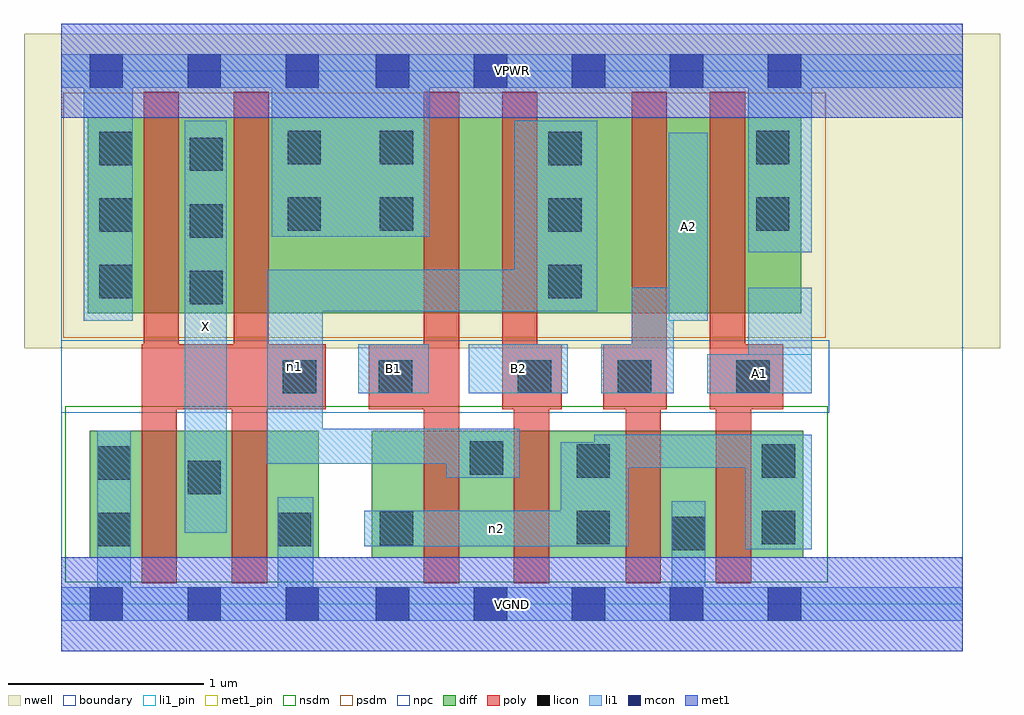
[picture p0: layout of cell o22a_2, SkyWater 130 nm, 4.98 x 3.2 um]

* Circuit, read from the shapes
.subckt o22a_2 A1 A2 B1 B2 VGND VPWR X n1 n2
XM1 X n1 VGND VSUBS sky130_fd_pr__nfet_01v8 w=0.65 l=0.18 m=2
XM2 n1 B1 n2 VSUBS sky130_fd_pr__nfet_01v8 w=0.65 l=0.18
XM3 n2 B2 n1 VSUBS sky130_fd_pr__nfet_01v8 w=0.65 l=0.18
XM4 VGND A2 n2 VSUBS sky130_fd_pr__nfet_01v8 w=0.65 l=0.18
XM5 n2 A1 VGND VSUBS sky130_fd_pr__nfet_01v8 w=0.65 l=0.18
XM6 X n1 VPWR n3 sky130_fd_pr__pfet_01v8 w=1 l=0.18 m=2
XM7 n4 B1 VPWR n3 sky130_fd_pr__pfet_01v8 w=1 l=0.18
XM8 n1 B2 n4 n3 sky130_fd_pr__pfet_01v8 w=1 l=0.18
XM9 n5 A2 n1 n3 sky130_fd_pr__pfet_01v8 w=1 l=0.18
XM10 VPWR A1 n5 n3 sky130_fd_pr__pfet_01v8 w=1 l=0.18
.ends

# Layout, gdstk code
import gdstk
lib = gdstk.Library(unit=1e-6, precision=1e-09)
def R(c, l, rs):  # rectangles x0, y0, x1, y1
    for r in rs: c.add(gdstk.rectangle(r[:2], r[2:], *l))
def A(c, l, x, y, w, h, nx, ny, dx, dy):  # array of equal rectangles
    R(c, l, [(x+i*dx, y+j*dy, x+i*dx+w, y+j*dy+h) for i in range(nx) for j in range(ny)])
nwell = (64, 20)
diff = (65, 20)
poly = (66, 20)
licon = (66, 44)
li1_pin = (67, 16)
li1 = (67, 20)
mcon = (67, 44)
met1_pin = (68, 16)
met1 = (68, 20)
nsdm = (93, 44)
psdm = (94, 20)
npc = (95, 20)
boundary = (235, 4)

o22a_2 = lib.new_cell('o22a_2')
R(o22a_2, nwell, [(-0.19,1.305,4.79,2.91), (0,1.305,4.6,2.91)])
R(o22a_2, diff, [(0.145,0.235,1.315,0.885), (1.585,0.235,3.785,0.885), (0.135,1.485,3.775,2.485)])
R(o22a_2, poly, [(0.41,0.105,0.59,1.325), (0.87,0.105,1.05,1.325), (1.85,0.105,2.03,2.615), (2.31,0.105,2.49,1.325), (2.88,0.105,3.06,1.325), (3.34,0.105,3.52,1.325), (0.41,0.995,1.35,1.325), (0.42,0.995,0.6,2.615), (0.88,0.995,1.06,2.615), (1.57,0.995,2.03,1.325), (2.25,0.995,2.43,2.615), (2.25,0.995,2.555,1.325), (2.765,0.995,3.09,1.325), (2.91,0.995,3.09,2.615), (3.31,0.995,3.49,2.615), (3.31,0.995,3.685,1.325)])
A(o22a_2, licon, 0.655, 1.53, 0.17, 0.17, 1, 3, 0, 0.34)
A(o22a_2, licon, 0.195, 1.56, 0.17, 0.17, 1, 3, 0, 0.34)
A(o22a_2, licon, 2.485, 1.56, 0.17, 0.17, 1, 3, 0, 0.34)
R(o22a_2, licon, [(3.115,0.275,3.285,0.445), (0.185,0.295,0.355,0.465), (1.105,0.295,1.275,0.465), (1.625,0.3,1.795,0.47), (2.63,0.305,2.8,0.475), (3.575,0.305,3.745,0.475), (0.645,0.56,0.815,0.73), (0.185,0.635,0.355,0.805), (2.63,0.645,2.8,0.815), (3.575,0.645,3.745,0.815), (2.085,0.66,2.255,0.83), (1.13,1.075,1.3,1.245), (1.62,1.075,1.79,1.245), (2.33,1.075,2.5,1.245), (2.84,1.075,3.01,1.245), (3.445,1.075,3.615,1.245), (1.155,1.905,1.325,2.075), (1.625,1.905,1.795,2.075), (3.545,1.905,3.715,2.075), (1.155,2.245,1.325,2.415), (1.625,2.245,1.795,2.415), (3.545,2.245,3.715,2.415)])
R(o22a_2, li1_pin, [(0.63,0.365,0.845,2.465), (1.515,1.075,1.875,1.325), (2.08,1.075,2.585,1.325), (3.295,1.075,3.83,1.275), (3.1,1.445,3.3,2.405)])
R(o22a_2, li1, [(0,-0.085,4.6,0.085), (0.185,-0.085,0.355,0.885), (1.105,-0.085,1.285,0.545), (3.115,-0.085,3.285,0.525), (3.49,0.28,3.83,0.865), (1.545,0.295,2.895,0.475), (2.55,0.295,2.895,0.825), (0.63,0.365,0.845,2.465), (1.965,0.645,2.34,0.895), (2.72,0.695,3.83,0.865), (1.05,0.715,1.335,1.705), (1.05,0.715,2.34,0.895), (1.515,1.075,1.875,1.325), (2.08,1.075,2.585,1.325), (2.755,1.075,3.125,1.325), (2.91,1.075,3.125,1.615), (3.295,1.075,3.83,1.275), (3.505,1.075,3.83,1.615), (0.115,1.445,0.365,2.805), (3.1,1.445,3.3,2.405), (1.05,1.495,2.735,1.705), (2.315,1.495,2.735,2.465), (3.505,1.795,3.83,2.805), (1.075,1.875,1.88,2.805), (0,2.635,4.6,2.805)])
A(o22a_2, mcon, 0.145, -0.085, 0.17, 0.17, 3, 2, 0.5, 2.72)
A(o22a_2, mcon, 1.605, -0.085, 0.17, 0.17, 5, 2, 0.5, 2.72)
R(o22a_2, met1_pin, [(0,-0.24,4.6,0.24), (0,2.48,4.6,2.96)])
R(o22a_2, met1, [(0,-0.24,4.6,0.24), (0,2.48,4.6,2.96)])
R(o22a_2, nsdm, [(0.02,0.11,3.91,1.01)])
R(o22a_2, psdm, [(0.01,1.36,3.9,2.61)])
R(o22a_2, npc, [(0,0.975,3.92,1.345)])
R(o22a_2, boundary, [(0,0,4.6,2.72)])
o22a_2.add(gdstk.Label('A1', (3.562,1.175), layer=67, texttype=5))
o22a_2.add(gdstk.Label('A2', (3.2,1.925), layer=67, texttype=5))
o22a_2.add(gdstk.Label('B1', (1.695,1.2), layer=67, texttype=5))
o22a_2.add(gdstk.Label('B2', (2.332,1.2), layer=67, texttype=5))
o22a_2.add(gdstk.Label('X', (0.737,1.415), layer=67, texttype=5))
o22a_2.add(gdstk.Label('n2', (2.22,0.385), layer=67, texttype=5))
o22a_2.add(gdstk.Label('n1', (1.192,1.21), layer=67, texttype=5))
o22a_2.add(gdstk.Label('VPWR', (2.3,2.72), layer=68, texttype=5))
o22a_2.add(gdstk.Label('VGND', (2.3,0), layer=68, texttype=5))
o22a_2.add(gdstk.Label('A1', (3.562,1.175), layer=67, texttype=16))
o22a_2.add(gdstk.Label('A2', (3.2,1.925), layer=67, texttype=16))
o22a_2.add(gdstk.Label('B1', (1.695,1.2), layer=67, texttype=16))
o22a_2.add(gdstk.Label('B2', (2.332,1.2), layer=67, texttype=16))
o22a_2.add(gdstk.Label('X', (0.737,1.415), layer=67, texttype=16))
o22a_2.add(gdstk.Label('VPWR', (2.3,2.72), layer=68, texttype=16))
o22a_2.add(gdstk.Label('VGND', (2.3,0), layer=68, texttype=16))

lib.write_gds('o22a_2.gds')
